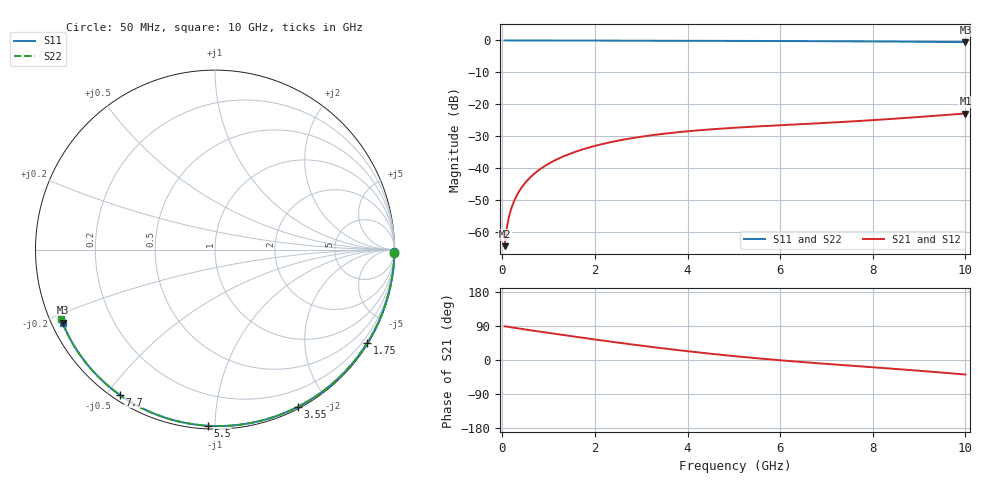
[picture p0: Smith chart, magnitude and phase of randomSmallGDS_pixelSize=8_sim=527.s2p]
! freq	dB(S11)	phase(S11)	dB(S12)	phase(S12)
!  dB(S21)	phase(S21)	dB(S22)	phase(S22)
!S-par simulation data
#  GHz  S  DB  R 50
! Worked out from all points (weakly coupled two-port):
!   200 points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, 50 MHz to 10 GHz, reference 50 ohm
!   highest |S21| = -22.84 dB at 10 GHz (marker M1); lowest = -64.3 dB at 50 MHz (marker M2)
!   lowest |S11| = -0.5 dB at 10 GHz (marker M3), VSWR 33.45, Z = 1.57 - j11.4 ohm
!   |S11| at or under -10 dB: nowhere
!   |S22| runs from -0.5 to 0.0 dB; largest |S21 - S12| = 0
!   S11 on the Smith chart (normalised r, x): 50 MHz: open; 1.75 GHz: 0.03, -3.54; 3.55 GHz: 0.02, -1.66; 5.5 GHz: 0.02, -0.96; 7.7 GHz: 0.02, -0.54; 10 GHz: 0.03, -0.23
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0.05  -0.00 -0.9  -64.32 89.0  -64.32 89.0  -0.00 -0.9
0.1  -0.00 -1.8  -58.30 88.0  -58.30 88.0  -0.00 -1.9
0.15  -0.00 -2.8  -54.79 87.0  -54.79 87.0  -0.00 -2.8
0.2  -0.00 -3.7  -52.30 86.1  -52.30 86.1  -0.00 -3.7
0.25  -0.00 -4.6  -50.37 85.1  -50.37 85.1  -0.00 -4.6
0.35  -0.00 -6.4  -47.47 83.2  -47.47 83.2  -0.00 -6.5
0.5  -0.01 -9.2  -44.42 80.5  -44.42 80.5  -0.01 -9.2
0.7  -0.01 -12.8  -41.55 76.9  -41.55 76.9  -0.01 -12.9
1  -0.02 -18.2  -38.54 71.5  -38.54 71.5  -0.02 -18.4
1.35  -0.03 -24.4  -36.07 65.4  -36.07 65.4  -0.03 -24.7
1.75  -0.04 -31.5  -33.99 58.4  -33.99 58.4  -0.04 -31.8
2.5  -0.06 -44.5  -31.33 45.8  -31.33 45.8  -0.06 -44.9
3.4  -0.08 -59.6  -29.32 31.8  -29.32 31.8  -0.08 -60.1
3.55  -0.09 -62.0  -29.06 29.6  -29.06 29.6  -0.09 -62.6
4.3  -0.11 -74.0  -28.02 19.2  -28.02 19.2  -0.11 -74.7
5.05  -0.14 -85.6  -27.26 9.8  -27.26 9.8  -0.14 -86.3
5.5  -0.16 -92.3  -26.89 4.6  -26.89 4.6  -0.16 -93.1
6.7  -0.22 -109.5  -25.99 -7.5  -25.99 -7.5  -0.22 -110.5
7.7  -0.29 -123.3  -25.18 -16.5  -25.18 -16.5  -0.29 -124.4
8.35  -0.34 -132.1  -24.58 -22.3  -24.58 -22.3  -0.34 -133.2
9.2  -0.43 -143.5  -23.71 -30.3  -23.71 -30.3  -0.43 -144.7
10  -0.52 -154.3  -22.84 -38.3  -22.84 -38.3  -0.52 -155.6
